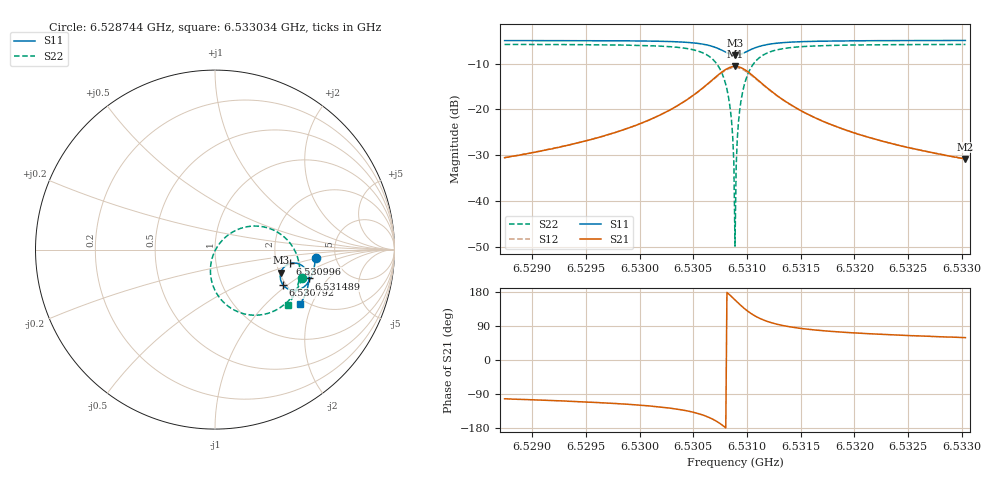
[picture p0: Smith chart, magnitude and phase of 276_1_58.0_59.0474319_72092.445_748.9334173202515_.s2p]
#  HZ  S  RI  R  50.00
! Rohde & Schwarz Vector Network Analyzer
! Rohde-Schwarz,ZNB20-2Port,1311601062101988,3.16
! Created: UTC 3/21/2024, 1:02:40 AM
! freq[Hz]  re:S11  im:S11  re:S21  im:S21  re:S12  im:S12  re:S22  im:S22
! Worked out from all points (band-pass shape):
!   401 points, 6.528744 GHz to 6.533034 GHz, reference 50 ohm
!   highest |S21| = -10.62 dB at 6.530889 GHz (marker M1); lowest = -30.8 dB at 6.533034 GHz (marker M2)
!   |S21| within 3 dB of the highest: 6.530675 GHz to 6.531104 GHz (429 kHz wide, 0.00657 % of centre)
!   lowest |S11| = -8.2 dB at 6.530889 GHz (marker M3), VSWR 2.27, Z = 102 - j30.9 ohm
!   |S11| at or under -10 dB: nowhere
!   |S22| runs from -49.8 to -5.8 dB; largest |S21 - S12| = 0.011
!   S11 on the Smith chart (normalised r, x): 6.528744 GHz: 3.50, -0.47; 6.530792 GHz: 1.93, -0.92; 6.530996 GHz: 2.38, -0.45; 6.531489 GHz: 2.76, -1.26; 6.533034 GHz: 1.86, -1.65
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6.5287441e9  0.5601 -0.0456  -0.00643 -0.0291  -0.00709 -0.029  0.4849 -0.1597
6.5294626e9  0.5511 -0.1051  -0.0153 -0.0416  -0.0163 -0.0414  0.4551 -0.2243
6.530181e9  0.5244 -0.1755  -0.0477 -0.0714  -0.0496 -0.0702  0.3765 -0.314
6.53061e9  0.4561 -0.226  -0.1512 -0.097  -0.1533 -0.0909  0.1778 -0.3615
6.5307172e9  0.4126 -0.2217  -0.2182 -0.0719  -0.2176 -0.0629  0.0647 -0.3087
6.5307923e9  0.3787 -0.196  -0.2677 -0.0158  -0.2624 -0.00624  -0.00922 -0.2061
6.5308245e9  0.3682 -0.1767  -0.281 0.0213  -0.2733 0.0296  -0.0245 -0.1423
6.5308459e9  0.3644 -0.1616  -0.2841 0.0494  -0.2753 0.0564  -0.0247 -0.0958
6.5308566e9  0.3635 -0.1538  -0.2838 0.0639  -0.2744 0.0702  -0.0217 -0.072
6.5308673e9  0.3636 -0.1456  -0.282 0.0786  -0.2722 0.0841  -0.0162 -0.0483
6.5308781e9  0.3647 -0.1375  -0.2787 0.0931  -0.2686 0.0977  -0.00812 -0.0251
6.5308888e9  0.3665 -0.1293  -0.274 0.1074  -0.2637 0.1111  0.00201 -0.00255
6.5309102e9  0.3727 -0.1142  -0.2603 0.1343  -0.2503 0.136  0.0291 0.0385
6.530921e9  0.3771 -0.1071  -0.2518 0.1462  -0.2419 0.1473  0.0452 0.0567
6.5309424e9  0.3875 -0.0952  -0.2319 0.1671  -0.2226 0.1666  0.0815 0.0873
6.530996e9  0.4192 -0.0774  -0.1741 0.1982  -0.1674 0.1956  0.1818 0.1279
6.5310604e9  0.4552 -0.0762  -0.1105 0.2021  -0.1067 0.1992  0.2882 0.1226
6.5311569e9  0.4912 -0.0942  -0.0485 0.1775  -0.0465 0.176  0.389 0.0672
6.5314893e9  0.522 -0.1608  0.0107 0.0983  0.0117 0.0979  0.4711 -0.0976
6.5316073e9  0.5219 -0.1779  0.0147 0.0828  0.0157 0.0824  0.472 -0.132
6.5323258e9  0.5028 -0.2498  0.0171 0.0397  0.0177 0.0395  0.4432 -0.246
6.5330335e9  0.4759 -0.3024  0.0149 0.0248  0.0154 0.0247  0.4082 -0.3061
